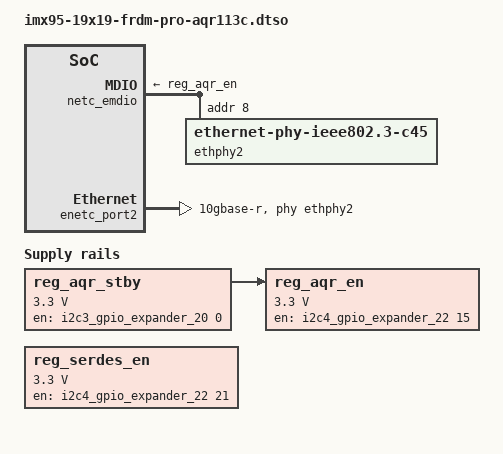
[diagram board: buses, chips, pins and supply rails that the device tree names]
// SPDX-License-Identifier: (GPL-2.0+ OR MIT)
/*
 * Copyright 2025 NXP
 */

/dts-v1/;
/plugin/;

#include <dt-bindings/gpio/gpio.h>

&{/}  {
	reg_aqr_stby: regulator-aqr-stby {
		compatible = "regulator-fixed";
		regulator-name = "aqr-stby";
		regulator-min-microvolt = <3300000>;
		regulator-max-microvolt = <3300000>;
		gpio = <&i2c3_gpio_expander_20 0 GPIO_ACTIVE_HIGH>;
		enable-active-high;
		regulator-always-on;
	};

	reg_aqr_en: regulator-aqr-en {
		compatible = "regulator-fixed";
		regulator-name = "aqr-en";
		regulator-min-microvolt = <3300000>;
		regulator-max-microvolt = <3300000>;
		vin-supply = <&reg_aqr_stby>;
		gpio = <&i2c4_gpio_expander_22 15 GPIO_ACTIVE_HIGH>;
		enable-active-high;
	};

	reg_serdes_en: regulator-mac-en {
		compatible = "regulator-fixed";
		regulator-name = "mac-en";
		regulator-min-microvolt = <3300000>;
		regulator-max-microvolt = <3300000>;
		gpio = <&i2c4_gpio_expander_22 21 GPIO_ACTIVE_HIGH>;
		enable-active-high;
		regulator-always-on;
	};
};

&netc_emdio {
	phy-supply = <&reg_aqr_en>;
	#address-cells = <1>;
	#size-cells = <0>;

	ethphy2: ethernet-phy@8 {
		compatible = "ethernet-phy-ieee802.3-c45";
		reg = <8>;
	};
};

&enetc_port2 {
	phy-handle = <&ethphy2>;
	phy-mode = "10gbase-r";
	serdes-supply = <&reg_serdes_en>;
	managed = "in-band-status";
	status = "okay";
};
